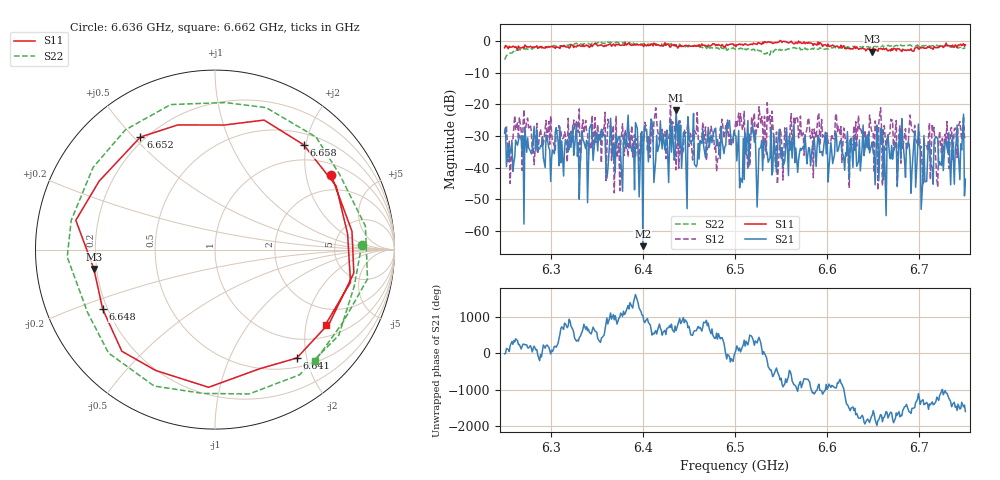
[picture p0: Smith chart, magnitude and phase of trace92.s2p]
# Hz S RI R 50
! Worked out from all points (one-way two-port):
!   401 points, 6.25 GHz to 6.75 GHz, reference 50 ohm
!   highest |S21| = -21.81 dB at 6.436 GHz (marker M1); lowest = -64.9 dB at 6.4 GHz (marker M2)
!   lowest |S11| = -3.3 dB at 6.649 GHz (marker M3), VSWR 5.32, Z = 9.46 - j3.81 ohm
!   |S11| at or under -10 dB: nowhere
!   |S22| runs from -5.7 to -0.1 dB; largest |S21 - S12| = 0.14
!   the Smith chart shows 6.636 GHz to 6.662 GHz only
!   S11 on the Smith chart (normalised r, x): 6.636 GHz: 1.39, +2.80; 6.641 GHz: 0.65, -1.83; 6.648 GHz: 0.18, -0.24; 6.652 GHz: 0.18, +0.52; 6.658 GHz: 0.69, +1.96; 6.662 GHz: 1.39, -2.59
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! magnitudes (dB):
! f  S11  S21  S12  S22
! 6.25 GHz  -2.0  -29.1  -29.1  -5.7
! 6.334 GHz  -1.6  -28.3  -27.4  -1.0
! 6.4 GHz  -1.3  -64.9  -29.8  -0.8
! 6.418 GHz  -1.3  -32.5  -31.3  -1.3
! 6.436 GHz  -1.2  -21.8  -40.7  -1.0
! 6.5 GHz  -1.1  -29.8  -27.6  -2.4
! 6.508 GHz  -0.9  -44.7  -27.9  -2.4
! 6.519 GHz  -1.0  -26.7  -27.1  -2.6
! 6.526 GHz  -0.5  -34.1  -20.7  -2.9
! 6.545 GHz  -0.4  -41.5  -28.7  -2.7
! 6.584 GHz  -0.7  -33.0  -27.9  -2.2
! 6.636 GHz  -2.3  -41.1  -27.3  -1.7
! 6.641 GHz  -2.4  -34.2  -28.2  -1.7
! 6.648 GHz  -3.0  -32.9  -28.1  -1.7
! 6.649 GHz  -3.3  -31.9  -29.0  -1.8
! 6.652 GHz  -2.5  -45.5  -25.2  -1.5
! 6.658 GHz  -2.3  -27.6  -21.1  -1.8
! 6.662 GHz  -2.6  -33.2  -26.7  -1.6
! 6.668 GHz  -2.7  -37.1  -29.3  -1.5
! 6.705 GHz  -2.1  -29.8  -30.7  -1.5
! 6.72 GHz  -2.0  -30.8  -46.2  -1.4
! 6.75 GHz  -1.1  -43.7  -30.0  -2.2
